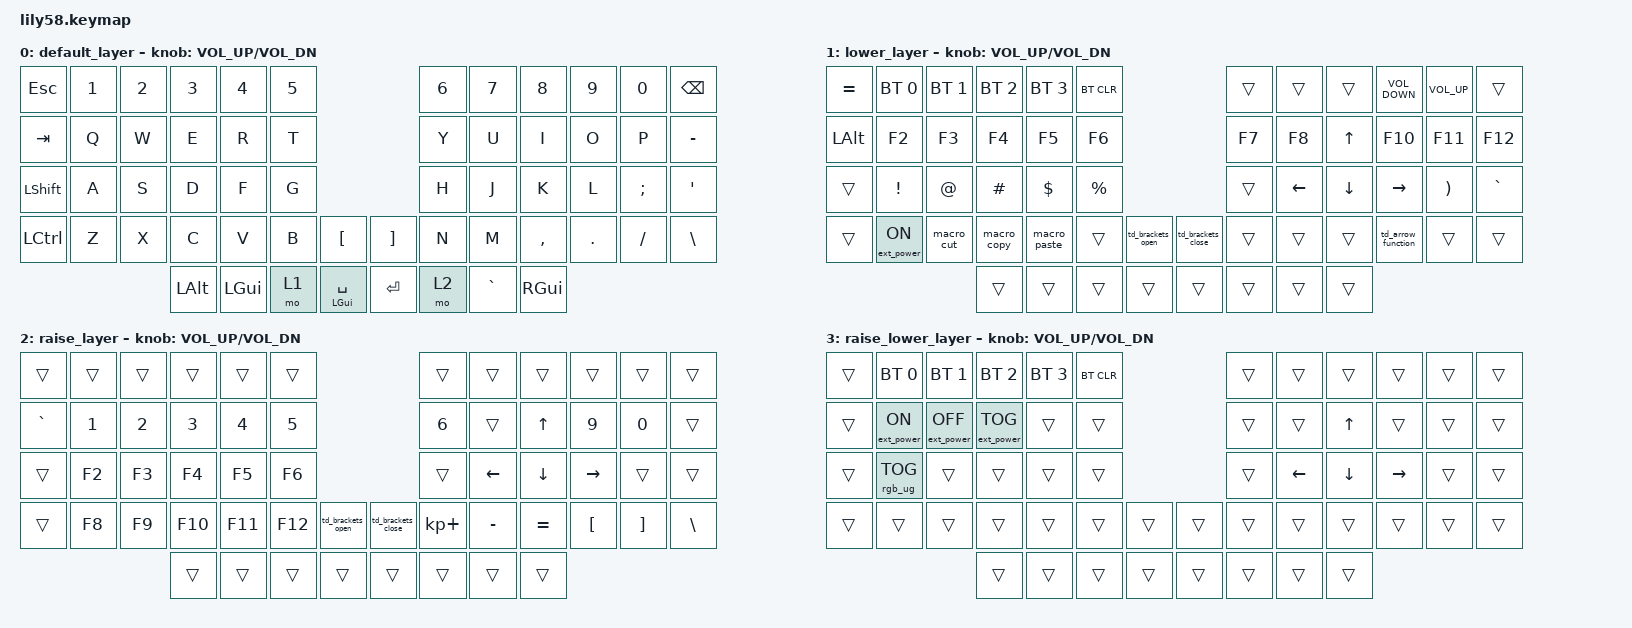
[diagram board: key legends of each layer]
/*
 * Copyright (c) 2020 The ZMK Contributors
 *
 * SPDX-License-Identifier: MIT
 */

#include <behaviors.dtsi>
#include <dt-bindings/zmk/keys.h>
#include <dt-bindings/zmk/bt.h>
#include <dt-bindings/zmk/ext_power.h>
#include <dt-bindings/zmk/rgb.h>

/ {
    macros {
        macro_copy: macro_copy {
            compatible = "zmk,behavior-macro";
            label = "macro_copy";
            #binding-cells = <0>;
            bindings =
                <&macro_press>,
                <&kp LEFT_GUI>,
                <&macro_tap>,
                <&kp C>,
                <&macro_release>,
                <&kp LEFT_GUI>;
        };
        macro_paste: macro_paste {
            compatible = "zmk,behavior-macro";
            label = "macro_paste";
            #binding-cells = <0>;
            bindings =
                <&macro_press>,
                <&kp LEFT_GUI>,
                <&macro_tap>,
                <&kp V>,
                <&macro_release>,
                <&kp LEFT_GUI>;
        };
        macro_cut: macro_cut {
            compatible = "zmk,behavior-macro";
            label = "macro_cut";
            #binding-cells = <0>;
            bindings =
                <&macro_press>,
                <&kp LEFT_GUI>,
                <&macro_tap>,
                <&kp X>,
                <&macro_release>,
                <&kp LEFT_GUI>;
        };
        macro_cmd_space: macro_cmd_space {
            compatible = "zmk,behavior-macro";
            label = "macro_cmd_space";
            #binding-cells = <0>;
            bindings =
                <&macro_press>,
                <&kp LEFT_GUI>,
                <&macro_tap>,
                <&kp SPACE>,
                <&macro_release>,
                <&kp LEFT_GUI>;
        };
        macro_arrow_function: macro_arrow_function {
            compatible = "zmk,behavior-macro";
            label = "macro_arrow_function";
            #binding-cells = <0>;
            bindings =
                <&macro_tap>,
                <&kp EQUAL>,
                <&macro_tap>,
                <&kp GREATER_THAN>;
        };
    };

    conditional_layers {
        compatible = "zmk,conditional-layers";

        tri_layer {
            if-layers = <1 2>;
            then-layer = <3>;
        };
    };

    behaviors {
        ht_tp: hold_tap_tap_preferred {
            compatible = "zmk,behavior-hold-tap";
            label = "HOLD_TAP_TAP_PREFERRED";
            #binding-cells = <2>;
            flavor = "tap-preferred";
            tapping-term-ms = <200>;
            quick-tap-ms = <125>;
            bindings = <&kp &kp>;
        };
        td_arrow_function: tap_dance_arrow_function {
            compatible = "zmk,behavior-tap-dance";
            label = "TAP_DANCE_ARROW_FUNCTION";
            #binding-cells = <0>;
            tapping-term-ms = <200>;
            bindings =
                <&kp SEMI>,
                <&macro_arrow_function>;
        };
        td_brackets_open: tap_dance_brackets_open {
            compatible = "zmk,behavior-tap-dance";
            label = "TAP_DANCE_BRACKETS_OPEN";
            #binding-cells = <0>;
            tapping-term-ms = <200>;
            bindings =
                <&kp LEFT_PARENTHESIS>,
                <&kp LBKT>,
                <&kp LEFT_BRACE>;
        };
        td_brackets_close: tap_dance_brackets_close {
            compatible = "zmk,behavior-tap-dance";
            label = "TAP_DANCE_BRACKETS_CLOSE";
            #binding-cells = <0>;
            tapping-term-ms = <200>;
            bindings =
                <&kp RIGHT_PARENTHESIS>,
                <&kp RBKT>,
                <&kp RIGHT_BRACE>;
        };
    };

    combos {
        compatible = "zmk,combos";

        raycast {
            bindings = <&macro_cmd_space>;
            key-positions = <53 42>;
            layers = <0 3 1 2>;
        };
    };

    keymap {
        compatible = "zmk,keymap";

        default_layer {
            // ------------------------------------------------------------------------------------------------------------
            // |  ESC  |  1  |  2  |  3   |  4   |  5   |                   |  6   |  7    |  8    |  9   |   0   |   `   |
            // |  TAB  |  Q  |  W  |  E   |  R   |  T   |                   |  Y   |  U    |  I    |  O   |   P   |   -   |
            // |  CTRL |  A  |  S  |  D   |  F   |  G   |                   |  H   |  J    |  K    |  L   |   ;   |   '   |
            // | SHIFT |  Z  |  X  |  C   |  V   |  B   |   "["  |  |  "]"  |  N   |  M    |  ,    |  .   |   /   | SHIFT |
            //                     | ALT  | GUI  | LOWER|  SPACE |  | ENTER | RAISE| BSPC  | GUI   |

            bindings = <
          &kp ESC  &kp N1  &kp N2    &kp N3    &kp N4  &kp N5                                        &kp N6     &kp N7         &kp N8   &kp N9    &kp N0  &kp BACKSPACE
          &kp TAB   &kp Q   &kp W     &kp E     &kp R   &kp T                                         &kp Y      &kp U          &kp I    &kp O     &kp P      &kp MINUS
   &kp LEFT_SHIFT   &kp A   &kp S     &kp D     &kp F   &kp G                                         &kp H      &kp J          &kp K    &kp L  &kp SEMI        &kp SQT
 &kp LEFT_CONTROL   &kp Z   &kp X     &kp C     &kp V   &kp B   &kp LEFT_BRACKET  &kp RIGHT_BRACKET   &kp N      &kp M      &kp COMMA  &kp DOT  &kp FSLH  &kp BACKSLASH
                                   &kp LALT  &kp LGUI   &mo 1  &ht_tp LGUI SPACE            &kp RET   &mo 2  &kp GRAVE  &kp RIGHT_GUI
            >;

            sensor-bindings = <&inc_dec_kp C_VOL_UP C_VOL_DN>;
        };

        lower_layer {
            // ------------------------------------------------------------------------------------------------------------
            // | BTCLR | BT1 | BT2 |  BT3 |  BT4 |  BT5 |                   |      |       |       |      |       |       |
            // |  F1   |  F2 |  F3 |  F4  |  F5  |  F6  |                   |  F7  |  F8   |  F9   |  F10 |  F11  |  F12  |
            // |   `   |  !  |  @  |  #   |  $   |  %   |                   |  ^   |  &    |  *    |  (   |   )   |   ~   |
            // |       |     |     |      |      |      |        |  |       |      |  _    |  +    |  {   |   }   |  "|"  |
            //                     |      |      |      |        |  |       |      |       |       |

            bindings = <
    &kp EQUAL      &bt BT_SEL 0  &bt BT_SEL 1  &bt BT_SEL 2  &bt BT_SEL 3  &bt BT_CLR                                         &trans    &trans    &trans   &kp C_VOLUME_DOWN  &kp C_VOLUME_UP     &trans
 &kp LEFT_ALT            &kp F2        &kp F3        &kp F4        &kp F5      &kp F6                                         &kp F7    &kp F8    &kp UP             &kp F10          &kp F11    &kp F12
       &trans          &kp EXCL        &kp AT      &kp HASH    &kp DOLLAR   &kp PRCNT                                         &trans  &kp LEFT  &kp DOWN           &kp RIGHT         &kp RPAR  &kp GRAVE
       &trans  &ext_power EP_ON    &macro_cut   &macro_copy  &macro_paste      &trans  &td_brackets_open  &td_brackets_close  &trans    &trans    &trans  &td_arrow_function           &trans     &trans
                                                     &trans        &trans      &trans             &trans              &trans  &trans    &trans    &trans
            >;

            sensor-bindings = <&inc_dec_kp C_VOL_UP C_VOL_DN>;
        };

        raise_layer {
            // ------------------------------------------------------------------------------------------------------------
            // |       |     |     |      |      |      |                   |      |       |       |      |       |       |
            // |   `   |  1  |  2  |  3   |  4   |  5   |                   |  6   |   7   |   8   |  9   |   0   |       |
            // |   F1  |  F2 |  F3 |  F4  |  F5  |  F6  |                   |      |   <-  |   v   |  ^   |  ->   |       |
            // |   F7  |  F8 |  F9 |  F10 |  F11 |  F12 |        |  |       |  +   |   -   |   =   |  [   |   ]   |   \   |
            //                     |      |      |      |        |  |       |      |       |       |

            bindings = <
    &trans  &trans  &trans   &trans   &trans   &trans                                              &trans     &trans     &trans     &trans    &trans    &trans
 &kp GRAVE  &kp N1  &kp N2   &kp N3   &kp N4   &kp N5                                              &kp N6     &trans     &kp UP     &kp N9    &kp N0    &trans
    &trans  &kp F2  &kp F3   &kp F4   &kp F5   &kp F6                                              &trans   &kp LEFT   &kp DOWN  &kp RIGHT    &trans    &trans
    &trans  &kp F8  &kp F9  &kp F10  &kp F11  &kp F12  &td_brackets_open  &td_brackets_close  &kp KP_PLUS  &kp MINUS  &kp EQUAL   &kp LBKT  &kp RBKT  &kp BSLH
                             &trans   &trans   &trans             &trans              &trans       &trans     &trans     &trans
            >;

            sensor-bindings = <&inc_dec_kp C_VOL_UP C_VOL_DN>;
        };

        raise_lower_layer {
            // ------------------------------------------------------------------------------------------------------------
            // |       |     |     |      |      |      |                   |      |       |       |      |       |       |
            // |   `   |  1  |  2  |  3   |  4   |  5   |                   |  6   |   7   |   8   |  9   |   0   |       |
            // |   F1  |  F2 |  F3 |  F4  |  F5  |  F6  |                   |      |   <-  |   v   |  ^   |  ->   |       |
            // |   F7  |  F8 |  F9 |  F10 |  F11 |  F12 |        |  |       |  +   |   -   |   =   |  [   |   ]   |   \   |
            //                     |      |      |      |        |  |       |      |       |       |

            bindings = <
 &trans      &bt BT_SEL 0       &bt BT_SEL 1       &bt BT_SEL 2  &bt BT_SEL 3  &bt BT_CLR                  &trans    &trans    &trans     &trans  &trans  &trans
 &trans  &ext_power EP_ON  &ext_power EP_OFF  &ext_power EP_TOG        &trans      &trans                  &trans    &trans    &kp UP     &trans  &trans  &trans
 &trans   &rgb_ug RGB_TOG             &trans             &trans        &trans      &trans                  &trans  &kp LEFT  &kp DOWN  &kp RIGHT  &trans  &trans
 &trans            &trans             &trans             &trans        &trans      &trans  &trans  &trans  &trans    &trans    &trans     &trans  &trans  &trans
                                                         &trans        &trans      &trans  &trans  &trans  &trans    &trans    &trans
            >;

            sensor-bindings = <&inc_dec_kp C_VOL_UP C_VOL_DN>;
        };
    };
};
